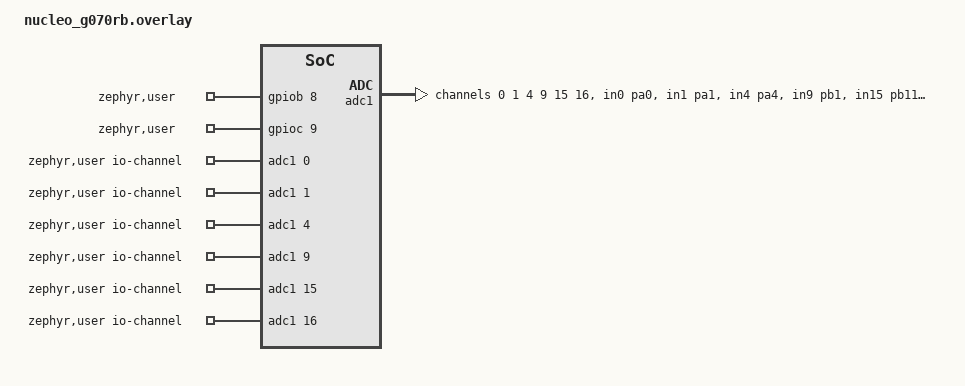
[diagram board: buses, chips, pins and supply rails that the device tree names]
/*
 * NUCLEO-G070RB
 * DAQ application devicetree overlay
 *
 * Hardware:
 *   ADC1:
 *     idx0 -> PA0  -> ADC1 IN0
 *     idx1 -> PA1  -> ADC1 IN1
 *     idx2 -> PA4  -> ADC1 IN4
 *     idx3 -> PB1  -> ADC1 IN9
 *     idx4 -> PB11 -> ADC1 IN15
 *     idx5 -> PB12 -> ADC1 IN16
 *
 *   Bit-banged I2C:
 *     idx0 = SCL -> PB8
 *     idx1 = SDA -> PC9
 *
 *   USART1 (device-to-device link):
 *     TX -> PC4, RX -> PC5
 *     Already enabled by default in the board's base .dts at 115200 8N1 -
 *     no overlay entry needed for it. See src/zephyr_uart.c / main.c for
 *     the code-side rename from USART3 -> USART1.
 */

#include <zephyr/dt-bindings/gpio/gpio.h>
#include <zephyr/dt-bindings/adc/adc.h>

&adc1 {
	pinctrl-0 = <&adc1_in0_pa0
		     &adc1_in1_pa1
		     &adc1_in4_pa4
		     &adc1_in9_pb1
		     &adc1_in15_pb11
		     &adc1_in16_pb12>;
	pinctrl-names = "default";
	st,adc-clock-source = "SYNC";
	st,adc-prescaler = <4>;
	#address-cells = <1>;
	#size-cells = <0>;
	status = "okay";

	channel@0 {
		reg = <0>;
		zephyr,gain = "ADC_GAIN_1";
		zephyr,reference = "ADC_REF_INTERNAL";
		zephyr,acquisition-time = <ADC_ACQ_TIME_DEFAULT>;
		zephyr,resolution = <12>;
	};

	channel@1 {
		reg = <1>;
		zephyr,gain = "ADC_GAIN_1";
		zephyr,reference = "ADC_REF_INTERNAL";
		zephyr,acquisition-time = <ADC_ACQ_TIME_DEFAULT>;
		zephyr,resolution = <12>;
	};

	channel@4 {
		reg = <4>;
		zephyr,gain = "ADC_GAIN_1";
		zephyr,reference = "ADC_REF_INTERNAL";
		zephyr,acquisition-time = <ADC_ACQ_TIME_DEFAULT>;
		zephyr,resolution = <12>;
	};

	channel@9 {
		reg = <9>;
		zephyr,gain = "ADC_GAIN_1";
		zephyr,reference = "ADC_REF_INTERNAL";
		zephyr,acquisition-time = <ADC_ACQ_TIME_DEFAULT>;
		zephyr,resolution = <12>;
	};

	channel@f {
		reg = <15>;
		zephyr,gain = "ADC_GAIN_1";
		zephyr,reference = "ADC_REF_INTERNAL";
		zephyr,acquisition-time = <ADC_ACQ_TIME_DEFAULT>;
		zephyr,resolution = <12>;
	};

	channel@10 {
		reg = <16>;
		zephyr,gain = "ADC_GAIN_1";
		zephyr,reference = "ADC_REF_INTERNAL";
		zephyr,acquisition-time = <ADC_ACQ_TIME_DEFAULT>;
		zephyr,resolution = <12>;
	};
};

/ {
	zephyr,user {
		/* ADC channels: idx 0-5 */
		io-channels = <&adc1 0>, <&adc1 1>, <&adc1 4>,
			      <&adc1 9>, <&adc1 15>, <&adc1 16>;

		/* Bit-banged I2C pins: idx 0 = SCL, idx 1 = SDA */
		gpios = <&gpiob 8 (GPIO_OPEN_DRAIN | GPIO_PULL_UP)>,
			<&gpioc 9 (GPIO_OPEN_DRAIN | GPIO_PULL_UP)>;
	};
};

/*
 * NOTE: gpioa/gpiob/gpioc need no explicit "status = okay" here - unlike
 * the N657 SoC, the STM32G0 GPIO controller nodes default to enabled at
 * the SoC .dtsi level, so the N657 overlay's &gpioX { status = "okay"; }
 * block has been dropped entirely rather than ported.
 *
 * NOTE: &usart1 also needs no entry here - nucleo_g070rb.dts already
 * configures it (pinctrl-0 = <&usart1_tx_pc4 &usart1_rx_pc5>,
 * current-speed = <115200>, status = "okay").
 */
